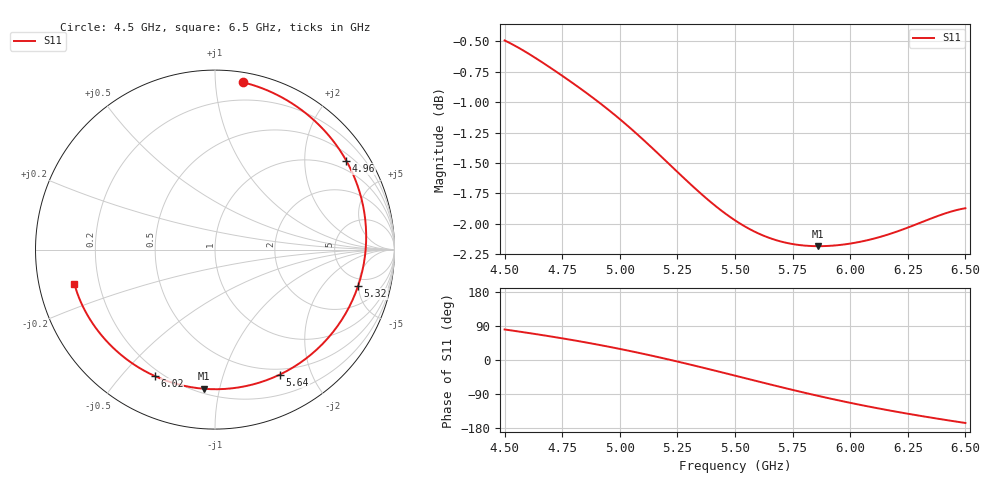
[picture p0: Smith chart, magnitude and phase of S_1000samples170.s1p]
! TOUCHSTONE file generated by CST MICROWAVE STUDIO
! Date and time: Thu Oct 27 05:54:59 2022
! Project name: L.cst
! Parameters = {Di=1.27; Epsilon_r=1.56; InnerDiameter=1.27; Length=2; Lf=10; Lg=60; OuterConductorThickness=0.2921; OuterDiameter=3.6; Wf=3; Wp=41.2; de=1.5; df=6.8; g=0.8; gx=3.97348; gy=1.35728; h=2.34; hf=1.524; px=10.819; py=8.11649; w=9.7; wx=6.84547; wy=6.75921}
! Header version: 2018
! Port assignment regex: !\s*Touchstone port\s*([0-9]+)\s*=\s*(CST MWS port|CST DS port)\s*([0-9]+|Zmin|Zmax)\s*\(\"(.*)\"\)(\s*mode\s*([0-9]+))?.*
! Touchstone port assignment:
! Touchstone port 1 = CST MWS port 1 ("")
# GHz S DB R 50
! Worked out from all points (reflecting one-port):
!   101 points, 4.5 GHz to 6.5 GHz, reference 50 ohm
!   lowest |S11| = -2.2 dB at 5.86 GHz (marker M1), VSWR 8.00, Z = 11.4 - j44.9 ohm
!   phase of S11 starts at 81 deg and turns -247 deg over the sweep
!   S11 on the Smith chart (normalised r, x): 4.5 GHz: 0.07, +1.18; 4.96 GHz: 0.69, +3.12; 5.32 GHz: 3.95, -4.94; 5.64 GHz: 0.43, -1.56; 6.02 GHz: 0.17, -0.62; 6.5 GHz: 0.11, -0.12
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4.5  -0.49 80.6
4.58  -0.57 73.5
4.64  -0.64 67.9
4.76  -0.80 56.2
4.86  -0.93 45.5
4.96  -1.08 34.1
5  -1.14 29.2
5.08  -1.27 19.1
5.14  -1.38 11.2
5.2  -1.48 3.0
5.26  -1.59 -5.5
5.32  -1.70 -14.2
5.4  -1.83 -26.1
5.44  -1.89 -32.2
5.5  -1.97 -41.3
5.58  -2.06 -53.5
5.64  -2.11 -62.6
5.7  -2.15 -71.5
5.76  -2.17 -80.3
5.8  -2.18 -86.1
5.86  -2.18 -94.5
5.92  -2.18 -102.6
6  -2.16 -113.0
6.02  -2.16 -115.5
6.14  -2.10 -129.7
6.26  -2.02 -142.8
6.38  -1.94 -154.9
6.5  -1.87 -166.2
